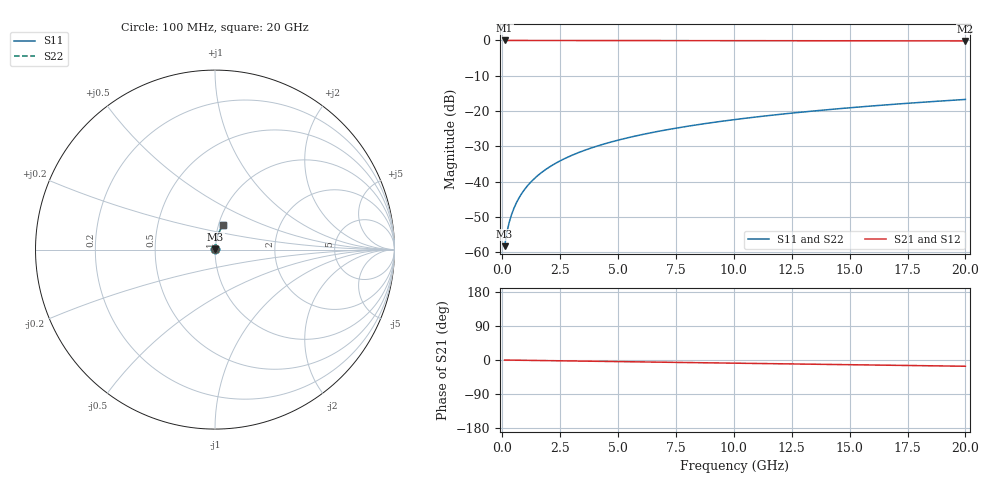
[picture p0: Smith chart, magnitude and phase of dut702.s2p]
! Touchstone file exported from HFSS 2026.1.0
!  File:  C:/ffzhzh/LocalFiles/Ansys_Project_Files/temp_train_TMRDL_702_1783154449_22436.aedt
!  Generated:  04:42:05 PM Jul  4, 2026
!  Design:  TMRDL
!  Project:  temp_train_TMRDL_702_1783154449_22436
! Variables:
!  h_bsmrdl = 2um
!  h_ox = 20um
!  h_rdl = 5um
!  h_sub = 80um
!  h_tmrdl = 4.81um
!  h_tsv = 80um
!  h_via = 3um
!  l_bsmrdl = 300um
!  l_sub = 620.68um
!  l_tmrdl = 220.68um
!  m_sub = 200um
!  pitch = 46.99um
!  r_tsv = 6um
!  s_tmrdl = 10um
!  w_bsmrdl = 18um
!  w_sub = 500um
!  w_tmrdl = 24.45um
!  x_tsv_center1 = 232.905um
!  x_tsv_center2 = 550.905um
!  x_tsv_center3 = 796.035um
!  x_tsv_center4 = 1114.035um
!  x_tsv_center5 = 1359.165um
!  x_tsv_center6 = 1677.165um
# GHz S MA R 50.000000
! Terminal data exported
! Port[1] = TM_RDL1_1_T1
! Port[2] = TM_RDL1_1_T2
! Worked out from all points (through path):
!   200 points, 100 MHz to 20 GHz, reference 50 ohm
!   highest |S21| = -0.01 dB at 100 MHz (marker M1); lowest = -0.1 dB at 20 GHz (marker M2)
!   group delay of S21, straight-line fit = 2.29 ps
!   lowest |S11| = -58.3 dB at 100 MHz (marker M3), VSWR 1.00, Z = 50.1 + j0.0872 ohm
!   |S11| at or under -10 dB: start of sweep to end of sweep
!   |S22| runs from -58.3 to -16.7 dB; largest |S21 - S12| = 2.1e-15
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0.1  0.001212 45.9  0.9992 -0.1  0.9992 -0.1  0.001212 45.9
! Gamma 0 0 0 0
! Port Impedance 50 0 50 0
0.2  0.001915 61.7  0.9991 -0.2  0.9991 -0.2  0.001915 61.7
0.3  0.002651 68.7  0.999 -0.3  0.999 -0.3  0.002651 68.7
0.4  0.003397 72.9  0.999 -0.3  0.999 -0.3  0.003397 72.9
0.5  0.004154 75.6  0.999 -0.4  0.999 -0.4  0.004154 75.6
0.6  0.004917 77.5  0.999 -0.5  0.999 -0.5  0.004917 77.5
0.8  0.006459 79.9  0.9989 -0.7  0.9989 -0.7  0.006459 79.9
1.1  0.008788 81.8  0.9988 -0.9  0.9988 -0.9  0.008788 81.8
1.5  0.0119 83.0  0.9987 -1.3  0.9987 -1.3  0.0119 83.0
1.8  0.01423 83.4  0.9986 -1.5  0.9986 -1.5  0.01423 83.4
2.1  0.01656 83.6  0.9985 -1.8  0.9985 -1.8  0.01656 83.6
2.7  0.02118 83.7  0.9983 -2.3  0.9983 -2.3  0.02118 83.7
3.5  0.02729 83.4  0.9979 -3.0  0.9979 -3.0  0.02729 83.4
4.2  0.03258 83.0  0.9975 -3.6  0.9975 -3.6  0.03258 83.0
5  0.03857 82.6  0.9971 -4.2  0.9971 -4.2  0.03857 82.6
5.9  0.04526 82.0  0.9966 -5.0  0.9966 -5.0  0.04526 82.0
6.8  0.05191 81.4  0.996 -5.7  0.996 -5.7  0.0519 81.4
8.3  0.0629 80.4  0.9951 -7.0  0.9951 -7.0  0.0629 80.4
10.1  0.07598 79.1  0.9938 -8.4  0.9938 -8.4  0.07598 79.1
13.4  0.09966 76.7  0.9912 -11.1  0.9912 -11.1  0.09966 76.7
16.7  0.1229 74.2  0.9882 -13.8  0.9882 -13.8  0.1229 74.2
20  0.1457 71.7  0.9847 -16.5  0.9847 -16.5  0.1457 71.7
